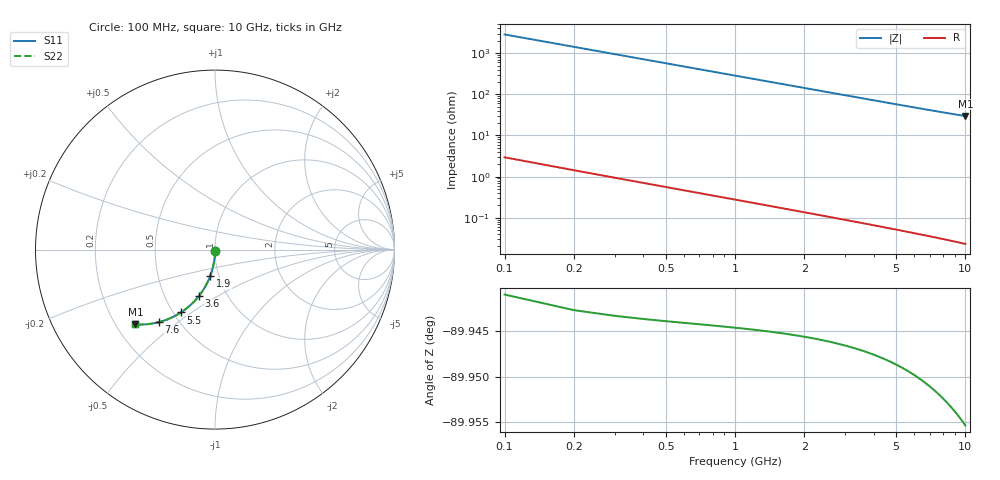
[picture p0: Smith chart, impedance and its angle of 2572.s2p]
# Hz S RI R 50.00
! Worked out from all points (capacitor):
!   100 points, 100 MHz to 10 GHz, reference 50 ohm
!   read as one part in shunt: C = 556 fF near 100 MHz
!   lowest |Z| = 29.6 ohm at 10 GHz (marker M1)
!   S11 on the Smith chart (normalised r, x): 100 MHz: 1.00, -0.02; 1.9 GHz: 0.91, -0.27; 3.6 GHz: 0.74, -0.41; 5.5 GHz: 0.55, -0.46; 7.6 GHz: 0.39, -0.43; 10 GHz: 0.28, -0.37
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1e8  0.000129 -0.00796  0.9997 -0.00952  0.9997 -0.00952  0.000129 -0.00796
2e8  -0.000106 -0.0159  0.9995 -0.019  0.9995 -0.019  -0.000106 -0.0159
3e8  -0.000492 -0.0239  0.9991 -0.0285  0.9991 -0.0285  -0.000492 -0.0239
4e8  -0.00103 -0.0318  0.9985 -0.038  0.9985 -0.038  -0.00103 -0.0318
5e8  -0.00172 -0.0397  0.9978 -0.0475  0.9978 -0.0475  -0.00172 -0.0397
6e8  -0.00256 -0.0476  0.997 -0.057  0.997 -0.057  -0.00256 -0.0476
8e8  -0.00468 -0.0634  0.9948 -0.0758  0.9948 -0.0758  -0.00468 -0.0634
1.1e9  -0.00897 -0.0868  0.9904 -0.1039  0.9904 -0.1039  -0.00897 -0.0868
1.4e9  -0.0146 -0.1098  0.9848 -0.1316  0.9848 -0.1316  -0.0146 -0.1098
1.8e9  -0.024 -0.1397  0.9752 -0.1678  0.9752 -0.1678  -0.024 -0.1397
1.9e9  -0.0267 -0.1471  0.9725 -0.1767  0.9725 -0.1767  -0.0267 -0.1471
2.2e9  -0.0355 -0.1687  0.9635 -0.203  0.9635 -0.203  -0.0355 -0.1687
2.6e9  -0.049 -0.1964  0.9497 -0.237  0.9497 -0.237  -0.049 -0.1964
3.4e9  -0.0813 -0.2476  0.9168 -0.3008  0.9168 -0.3008  -0.0813 -0.2476
3.6e9  -0.0903 -0.2595  0.9076 -0.3158  0.9076 -0.3158  -0.0903 -0.2595
4.3e9  -0.1245 -0.2975  0.8727 -0.365  0.8727 -0.365  -0.1245 -0.2975
5.1e9  -0.1674 -0.3343  0.8289 -0.4145  0.8289 -0.4145  -0.1674 -0.3343
5.5e9  -0.1898 -0.35  0.8059 -0.4366  0.8059 -0.4366  -0.1898 -0.35
6.7e9  -0.2594 -0.3865  0.7344 -0.4925  0.7344 -0.4925  -0.2594 -0.3865
7.6e9  -0.312 -0.404  0.6802 -0.5247  0.6802 -0.5247  -0.312 -0.404
8.4e9  -0.3577 -0.4132  0.6327 -0.5472  0.6327 -0.5472  -0.3577 -0.4132
1e10  -0.4439 -0.4166  0.5426 -0.5774  0.5426 -0.5774  -0.4439 -0.4166
